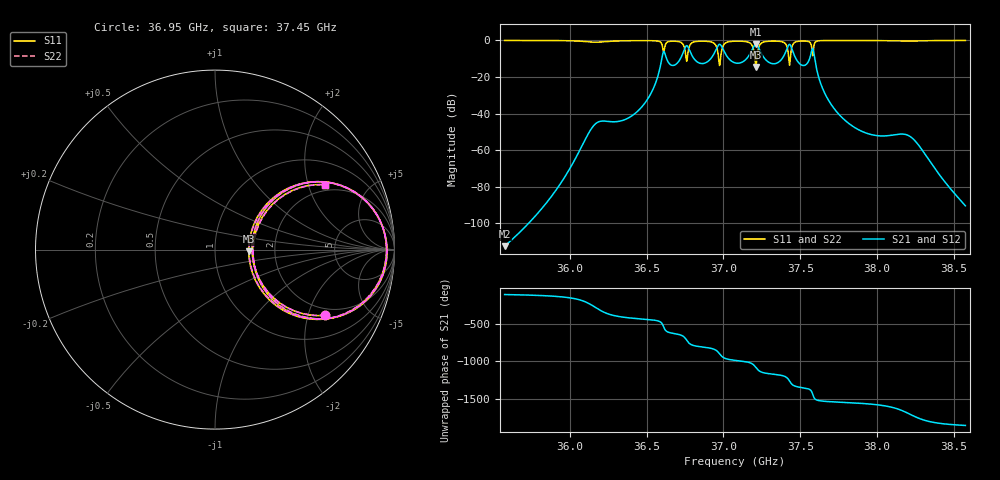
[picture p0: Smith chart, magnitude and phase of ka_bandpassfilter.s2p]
! TOUCHSTONE file generated by CST MICROWAVE STUDIO
! Date and time: Fri Jan 30 17:23:11 2026
! Project name: ka_bandpassfilter_Fest3D.cst
! Header version: 2018
! Port assignment regex: !\s*Touchstone port\s*([0-9]+)\s*=\s*(CST MWS port|CST DS port)\s*([0-9]+|Zmin|Zmax)\s*\(\"(.*)\"\)(\s*mode\s*([0-9]+))?.*
! Touchstone port assignment:
! Touchstone port 1 = CST MWS port 1 ("")
! Touchstone port 2 = CST MWS port 2 ("")
# GHz S MA R 50
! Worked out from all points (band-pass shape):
!   5001 points, 35.58 GHz to 38.58 GHz, reference 50 ohm
!   highest |S21| = -1.90 dB at 37.21 GHz (marker M1); lowest = -112.5 dB at 35.58 GHz (marker M2)
!   |S21| within 3 dB of the highest: 36.95226 GHz to 36.99738 GHz (45.12 MHz wide, 0.122 % of centre); 37.1874 GHz to 37.23385 GHz (46.45 MHz wide, 0.125 % of centre)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
!   lowest |S11| = -14.5 dB at 37.21 GHz (marker M3), VSWR 1.46, Z = 73.1 - j1.34 ohm
!   |S11| at or under -10 dB: 36.96866 GHz to 36.9805 GHz (11.84 MHz wide, 0.032 % of centre); 37.20463 GHz to 37.21696 GHz (12.33 MHz wide, 0.0331 % of centre); 37.42521 GHz to 37.43438 GHz (9.171 MHz wide, 0.0245 % of centre)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
!   |S22| runs from -14.4 to 0.0 dB; largest |S21 - S12| = 1e-11
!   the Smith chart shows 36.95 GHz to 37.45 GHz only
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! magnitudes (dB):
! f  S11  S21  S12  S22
! 35.58 GHz  0.0  -112.5  -112.5  0.0
! 35.92 GHz  -0.1  -80.6  -80.6  -0.1
! 36.08 GHz  -0.4  -58.2  -58.2  -0.4
! 36.18 GHz  -1.0  -44.9  -44.9  -1.0
! 36.44 GHz  -0.1  -38.6  -38.6  -0.1
! 36.58 GHz  -0.4  -18.8  -18.8  -0.4
! 36.61 GHz  -6.2  -6.0  -6.0  -6.2
! 36.68 GHz  -0.4  -13.5  -13.5  -0.4
! 36.76 GHz  -11.4  -2.9  -2.9  -11.4
! 36.86 GHz  -0.4  -12.6  -12.6  -0.4
! 36.98 GHz  -12.6  -2.2  -2.2  -12.6
! 37.08 GHz  -0.4  -12.3  -12.3  -0.4
! 37.21 GHz  -14.5  -1.9  -1.9  -14.4
! 37.32 GHz  -0.4  -12.7  -12.7  -0.4
! 37.43 GHz  -12.6  -2.2  -2.2  -12.5
! 37.51 GHz  -0.3  -13.6  -13.6  -0.3
! 37.58 GHz  -4.5  -5.2  -5.2  -4.5
! 37.75 GHz  0.0  -40.6  -40.6  0.0
! 38.08 GHz  -0.2  -52.0  -52.0  -0.2
! 38.22 GHz  -0.3  -52.6  -52.6  -0.3
! 38.46 GHz  0.0  -79.2  -79.2  0.0
! 38.58 GHz  0.0  -90.4  -90.4  0.0
